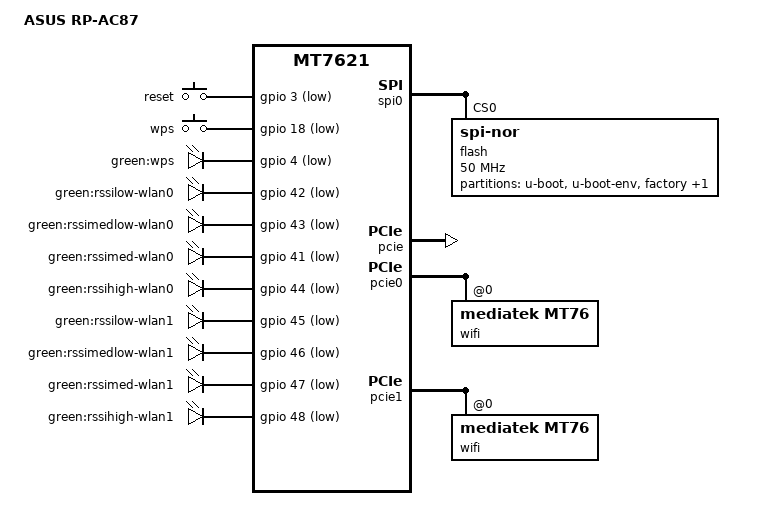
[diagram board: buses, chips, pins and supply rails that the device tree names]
// SPDX-License-Identifier: GPL-2.0-or-later OR MIT

#include "mt7621.dtsi"

#include <dt-bindings/gpio/gpio.h>
#include <dt-bindings/input/input.h>

/ {
	compatible = "asus,rp-ac87", "mediatek,mt7621-soc";
	model = "ASUS RP-AC87";

	aliases {
		led-boot = &led_wps;
		led-failsafe = &led_wps;
		led-running = &led_wps;
		led-upgrade = &led_wps;
		label-mac-device = &gmac0;
	};

	keys {
		compatible = "gpio-keys";

		reset {
			label = "reset";
			gpios = <&gpio 3 GPIO_ACTIVE_LOW>;
			linux,code = <KEY_RESTART>;
		};

		wps {
			label = "wps";
			gpios = <&gpio 18 GPIO_ACTIVE_LOW>;
			linux,code = <KEY_WPS_BUTTON>;
		};
	};

	leds {
		compatible = "gpio-leds";

		led_wps: wps {
			label = "green:wps";
			gpios = <&gpio 4 GPIO_ACTIVE_LOW>;
		};

		rssilow-wlan0 {
			label = "green:rssilow-wlan0";
			gpios = <&gpio 42 GPIO_ACTIVE_LOW>;
		};

		rssimedlow-wlan0 {
			label = "green:rssimedlow-wlan0";
			gpios = <&gpio 43 GPIO_ACTIVE_LOW>;
		};

		rssimed-wlan0 {
			label = "green:rssimed-wlan0";
			gpios = <&gpio 41 GPIO_ACTIVE_LOW>;
		};

		rssihigh-wlan0 {
			label = "green:rssihigh-wlan0";
			gpios = <&gpio 44 GPIO_ACTIVE_LOW>;
		};

		rssilow-wlan1 {
			label = "green:rssilow-wlan1";
			gpios = <&gpio 45 GPIO_ACTIVE_LOW>;
		};

		rssimedlow-wlan1 {
			label = "green:rssimedlow-wlan1";
			gpios = <&gpio 46 GPIO_ACTIVE_LOW>;
		};

		rssimed-wlan1 {
			label = "green:rssimed-wlan1";
			gpios = <&gpio 47 GPIO_ACTIVE_LOW>;
		};

		rssihigh-wlan1 {
			label = "green:rssihigh-wlan1";
			gpios = <&gpio 48 GPIO_ACTIVE_LOW>;
		};
	};
};

&spi0 {
	status = "okay";

	flash@0 {
		compatible = "jedec,spi-nor";
		reg = <0>;
		spi-max-frequency = <50000000>;
		m25p,fast-read;

		partitions {
			compatible = "fixed-partitions";
			#address-cells = <1>;
			#size-cells = <1>;

			partition@0 {
				label = "u-boot";
				reg = <0x0 0x30000>;
				read-only;
			};

			partition@30000 {
				label = "u-boot-env";
				reg = <0x30000 0x10000>;
				read-only;
			};

			factory: partition@40000 {
				label = "factory";
				reg = <0x40000 0x10000>;
				read-only;

				compatible = "nvmem-cells";
				#address-cells = <1>;
				#size-cells = <1>;

				macaddr_factory_8004: macaddr@8004 {
					reg = <0x8004 0x6>;
				};
			};

			partition@50000 {
				compatible = "denx,uimage";
				label = "firmware";
				reg = <0x50000 0xfb0000>;
			};
		};
	};
};

&pcie {
	status = "okay";
};

&pcie0 {
	wifi@0,0 {
		compatible = "mediatek,mt76";
		reg = <0x0000 0 0 0 0>;
		mediatek,mtd-eeprom = <&factory 0x0>;
		ieee80211-freq-limit = <2400000 2500000>;
	};
};

&pcie1 {
	wifi@0,0 {
		compatible = "mediatek,mt76";
		reg = <0x0000 0 0 0 0>;
		mediatek,mtd-eeprom = <&factory 0x8000>;
		ieee80211-freq-limit = <5000000 6000000>;
	};
};

&gmac0 {
	nvmem-cells = <&macaddr_factory_8004>;
	nvmem-cell-names = "mac-address";
};

&switch0 {
	ports {
		port@4 {
			status = "okay";
			label = "lan";
		};
	};
};

&xhci {
	status = "disabled";
};
